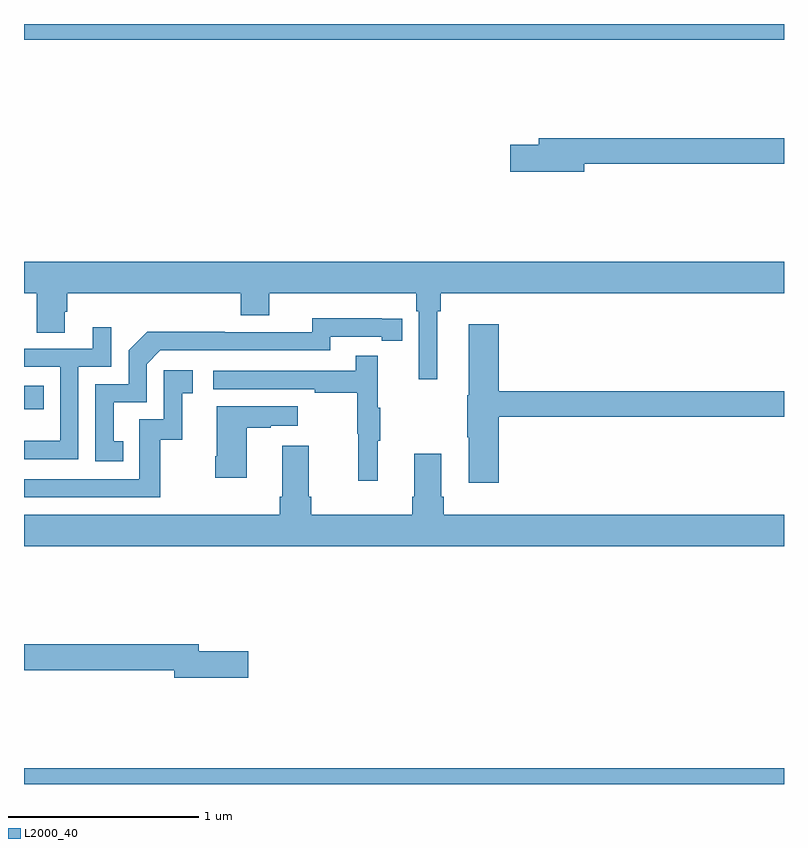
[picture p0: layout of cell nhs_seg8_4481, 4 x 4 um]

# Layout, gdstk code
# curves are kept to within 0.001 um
import gdstk
lib = gdstk.Library(unit=1e-6, precision=1e-09)
def R(c, l, rs):  # rectangles x0, y0, x1, y1
    for r in rs: c.add(gdstk.rectangle(r[:2], r[2:], *l))
def P(c, l, *ps):  # polygons
    for p in ps: c.add(gdstk.Polygon(p, *l))
L2000_40 = (2000, 40)

nhs_seg8_4481 = lib.new_cell('nhs_seg8_4481')
R(nhs_seg8_4481, L2000_40, [(383,1129.9,387,1129.984), (383,1131.873,383.105,1131.996), (383,1133.816,387,1133.9)])
P(nhs_seg8_4481, L2000_40, [(385.948,1133.164),(387,1133.164),(387,1133.3),(385.709,1133.3),(385.709,1133.264),(385.56,1133.264),(385.56,1133.122),(385.948,1133.122)],
  [(385.174,1132.388),(385.193,1132.388),(385.193,1132.484),(387,1132.484),(387,1132.648),(383,1132.648),(383,1132.484),(383.068,1132.484),(383.068,1132.276),(383.215,1132.276),(383.215,1132.386),(383.228,1132.386),(383.228,1132.484),(384.14,1132.484),(384.14,1132.367),(384.292,1132.367),(384.292,1132.484),(385.064,1132.484),(385.064,1132.388),(385.077,1132.388),(385.077,1132.029),(385.174,1132.029)],
  [(383.522,1131.705),(383.473,1131.705),(383.473,1131.909),(383.646,1131.909),(383.646,1132.11),(383.718,1132.182),(384.612,1132.182),(384.612,1132.254),(384.884,1132.254),(384.884,1132.234),(384.992,1132.234),(384.992,1132.35),(384.516,1132.351),(384.516,1132.278),(384.056,1132.278),(384.056,1132.28),(383.648,1132.28),(383.55,1132.182),(383.55,1132.005),(383.376,1132.005),(383.376,1131.6),(383.522,1131.6)],
  [(385.499,1131.832),(387,1131.832),(387,1131.968),(385.499,1131.968),(385.499,1132.321),(385.34,1132.321),(385.34,1131.945),(385.333,1131.945),(385.333,1131.724),(385.34,1131.724),(385.34,1131.486),(385.499,1131.486)],
  [(383.286,1132.095),(383.46,1132.095),(383.46,1132.303),(383.363,1132.303),(383.363,1132.191),(383,1132.191),(383,1132.095),(383.19,1132.095),(383.19,1131.706),(383,1131.706),(383,1131.609),(383.286,1131.609)],
  [(384.863,1131.707),(384.874,1131.707),(384.874,1131.881),(384.863,1131.881),(384.863,1132.153),(384.745,1132.153),(384.745,1132.074),(383.997,1132.074),(383.997,1131.978),(384.529,1131.978),(384.529,1131.958),(384.753,1131.958),(384.753,1131.744),(384.76,1131.744),(384.76,1131.495),(384.863,1131.495)],
  [(383.716,1131.711),(383.834,1131.711),(383.834,1131.957),(383.887,1131.957),(383.887,1132.078),(383.736,1132.078),(383.736,1131.819),(383.607,1131.819),(383.607,1131.504),(383,1131.504),(383,1131.408),(383.716,1131.408)],
  [(384.172,1131.775),(384.299,1131.775),(384.299,1131.785),(384.442,1131.785),(384.442,1131.889),(384.014,1131.889),(384.014,1131.625),(384.007,1131.625),(384.007,1131.513),(384.172,1131.513)],
  [(387,1131.316),(385.208,1131.316),(385.208,1131.412),(385.195,1131.412),(385.195,1131.637),(385.055,1131.637),(385.055,1131.412),(385.043,1131.412),(385.043,1131.316),(384.512,1131.316),(384.512,1131.412),(384.499,1131.412),(384.499,1131.679),(384.359,1131.679),(384.359,1131.412),(384.347,1131.412),(384.347,1131.316),(383,1131.316),(383,1131.152),(387,1131.152)],
  [(384.181,1130.6),(383.92,1130.6),(383.92,1130.636),(383,1130.636),(383,1130.5),(383.792,1130.5),(383.792,1130.458),(384.181,1130.458)])

lib.write_gds('nhs_seg8_4481.gds')
